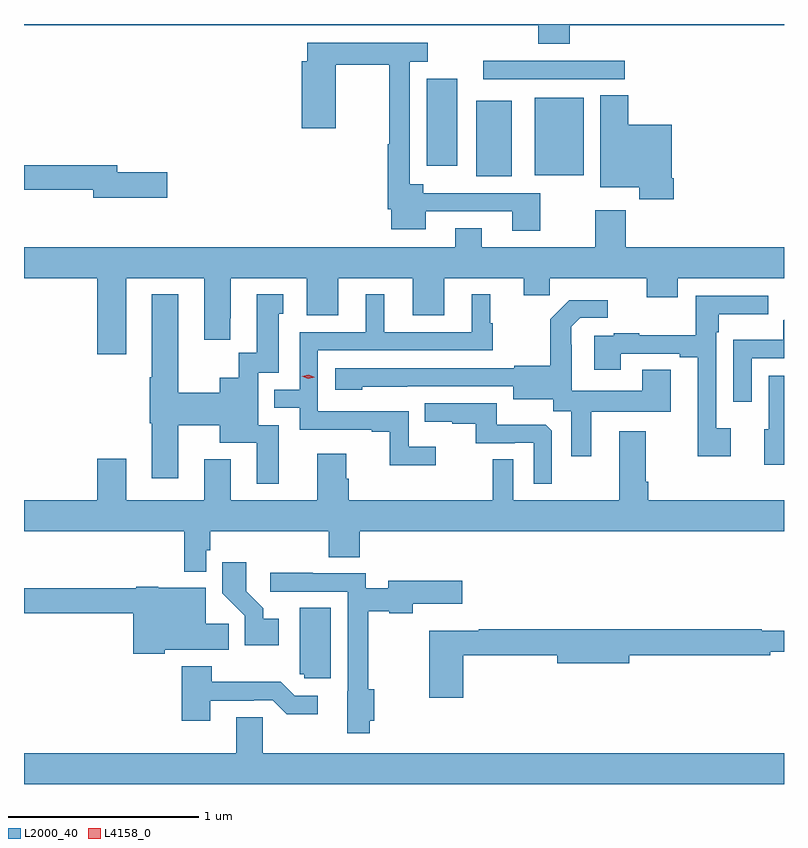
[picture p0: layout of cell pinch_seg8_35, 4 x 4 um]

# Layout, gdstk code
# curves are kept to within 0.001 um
import gdstk
lib = gdstk.Library(unit=1e-6, precision=1e-09)
def R(c, l, rs):  # rectangles x0, y0, x1, y1
    for r in rs: c.add(gdstk.rectangle(r[:2], r[2:], *l))
def P(c, l, *ps):  # polygons
    for p in ps: c.add(gdstk.Polygon(p, *l))
L2000_40 = (2000, 40)
L4158_0 = (4158, 0)

pinch_seg8_35 = lib.new_cell('pinch_seg8_35')
R(pinch_seg8_35, L2000_40, [(978.548,1156.997,978.736,1157.395), (978.857,1157.003,979.114,1157.41), (978.287,1157.052,978.448,1157.509), (978.585,1157.508,979.33,1157.604)])
P(pinch_seg8_35, L2000_40, [(979.04,1157.792),(980.168,1157.792),(980.168,1157.798),(976.168,1157.798),(976.168,1157.792),(978.875,1157.792),(978.875,1157.693),(979.04,1157.693)],
  [(978.885,1156.908),(978.268,1156.908),(978.268,1156.954),(978.198,1156.954),(978.198,1157.6),(978.292,1157.6),(978.292,1157.7),(977.66,1157.7),(977.66,1157.602),(977.63,1157.602),(977.63,1157.25),(977.808,1157.25),(977.808,1157.584),(978.09,1157.584),(978.09,1157.165),(978.082,1157.165),(978.082,1156.822),(978.101,1156.822),(978.101,1156.718),(978.283,1156.718),(978.283,1156.812),(978.737,1156.812),(978.737,1156.71),(978.885,1156.71)],
  [(979.589,1156.987),(979.576,1156.987),(979.576,1157.269),(979.349,1157.269),(979.349,1157.423),(979.202,1157.423),(979.202,1156.94),(979.406,1156.94),(979.406,1156.875),(979.589,1156.875)],
  [(976.921,1157.018),(976.66,1157.018),(976.66,1157.054),(976.168,1157.054),(976.168,1156.926),(976.532,1156.926),(976.532,1156.883),(976.921,1156.883)],
  [(976.705,1156.46),(977.117,1156.46),(977.117,1156.137),(977.254,1156.137),(977.254,1156.249),(977.257,1156.249),(977.257,1156.46),(977.657,1156.46),(977.657,1156.266),(977.821,1156.266),(977.821,1156.46),(978.215,1156.46),(978.215,1156.266),(978.379,1156.266),(978.379,1156.46),(978.797,1156.46),(978.797,1156.37),(978.935,1156.37),(978.935,1156.46),(979.445,1156.46),(979.445,1156.361),(979.609,1156.361),(979.609,1156.46),(980.168,1156.46),(980.168,1156.624),(979.334,1156.624),(979.334,1156.819),(979.174,1156.819),(979.174,1156.624),(978.577,1156.624),(978.577,1156.723),(978.437,1156.723),(978.437,1156.624),(976.168,1156.624),(976.168,1156.46),(976.553,1156.46),(976.553,1156.059),(976.705,1156.059)],
  [(977.509,1155.687),(977.4,1155.687),(977.4,1155.963),(977.509,1155.963),(977.509,1156.272),(977.533,1156.272),(977.533,1156.375),(977.393,1156.375),(977.393,1156.068),(977.297,1156.068),(977.297,1155.937),(977.198,1155.937),(977.198,1155.857),(976.981,1155.857),(976.981,1156.375),(976.841,1156.375),(976.841,1155.94),(976.829,1155.94),(976.829,1155.696),(976.841,1155.696),(976.841,1155.408),(976.981,1155.408),(976.981,1155.685),(977.198,1155.685),(977.198,1155.593),(977.393,1155.593),(977.393,1155.378),(977.509,1155.378)],
  [(978.334,1155.574),(978.192,1155.574),(978.192,1155.759),(977.715,1155.759),(977.715,1156.08),(978.634,1156.08),(978.634,1156.224),(978.622,1156.224),(978.622,1156.375),(978.524,1156.375),(978.524,1156.176),(978.064,1156.176),(978.064,1156.375),(977.966,1156.375),(977.966,1156.176),(977.619,1156.176),(977.619,1155.873),(977.486,1155.873),(977.486,1155.777),(977.619,1155.777),(977.619,1155.663),(977.999,1155.663),(977.999,1155.651),(978.094,1155.651),(978.094,1155.476),(978.334,1155.476)],
  [(979.888,1155.67),(979.812,1155.67),(979.812,1156.175),(979.825,1156.175),(979.825,1156.271),(980.086,1156.271),(980.086,1156.368),(979.704,1156.368),(979.704,1156.16),(979.405,1156.16),(979.405,1156.171),(979.273,1156.171),(979.273,1156.158),(979.169,1156.158),(979.169,1155.978),(979.309,1155.978),(979.309,1156.062),(979.619,1156.062),(979.619,1156.044),(979.715,1156.044),(979.715,1155.522),(979.888,1155.522)],
  [(979.153,1155.758),(979.573,1155.758),(979.573,1155.977),(979.421,1155.977),(979.421,1155.868),(979.05,1155.868),(979.05,1156.109),(979.048,1156.109),(979.048,1156.204),(979.095,1156.251),(979.24,1156.251),(979.24,1156.345),(979.039,1156.345),(978.939,1156.245),(978.939,1156),(978.747,1156),(978.747,1155.987),(977.805,1155.987),(977.805,1155.872),(977.949,1155.872),(977.949,1155.89),(978.743,1155.891),(978.743,1155.824),(978.954,1155.824),(978.954,1155.76),(979.049,1155.76),(979.049,1155.522),(979.153,1155.522)],
  [(979.998,1156.038),(980.168,1156.038),(980.168,1156.242),(980.164,1156.238),(980.164,1156.135),(979.902,1156.135),(979.902,1155.81),(979.998,1155.81)],
  [(980.168,1155.948),(980.088,1155.948),(980.088,1155.666),(980.063,1155.666),(980.063,1155.479),(980.168,1155.479)],
  [(978.945,1155.657),(978.913,1155.689),(978.655,1155.689),(978.655,1155.801),(978.277,1155.801),(978.277,1155.704),(978.421,1155.704),(978.421,1155.693),(978.545,1155.693),(978.545,1155.591),(978.752,1155.591),(978.752,1155.594),(978.852,1155.594),(978.852,1155.377),(978.945,1155.377)],
  [(977.127,1155.027),(977.147,1155.027),(977.147,1155.128),(977.771,1155.128),(977.771,1154.992),(977.936,1154.992),(977.936,1155.128),(980.168,1155.128),(980.168,1155.292),(979.454,1155.292),(979.454,1155.388),(979.441,1155.388),(979.441,1155.655),(979.301,1155.655),(979.301,1155.292),(978.744,1155.292),(978.744,1155.506),(978.636,1155.506),(978.636,1155.292),(977.876,1155.292),(977.876,1155.405),(977.863,1155.405),(977.863,1155.535),(977.711,1155.535),(977.711,1155.292),(977.257,1155.292),(977.257,1155.508),(977.117,1155.508),(977.117,1155.292),(976.705,1155.292),(976.705,1155.511),(976.553,1155.511),(976.553,1155.292),(976.168,1155.292),(976.168,1155.128),(977.011,1155.128),(977.011,1154.915),(977.127,1154.915)],
  [(977.509,1154.668),(977.428,1154.668),(977.428,1154.723),(977.338,1154.813),(977.338,1154.965),(977.212,1154.965),(977.212,1154.802),(977.331,1154.683),(977.331,1154.528),(977.509,1154.528)],
  [(977.987,1154.132),(978.012,1154.132),(978.012,1154.298),(977.98,1154.298),(977.98,1154.706),(978.09,1154.706),(978.09,1154.698),(978.214,1154.698),(978.214,1154.747),(978.475,1154.747),(978.475,1154.869),(978.086,1154.869),(978.086,1154.827),(977.967,1154.827),(977.967,1154.907),(977.687,1154.907),(977.687,1154.91),(977.463,1154.91),(977.463,1154.811),(977.871,1154.811),(977.871,1154.286),(977.87,1154.286),(977.87,1154.064),(977.987,1154.064)],
  [(976.908,1154.504),(977.246,1154.504),(977.246,1154.642),(977.125,1154.642),(977.125,1154.83),(976.875,1154.83),(976.875,1154.835),(976.758,1154.835),(976.758,1154.827),(976.168,1154.827),(976.168,1154.698),(976.742,1154.698),(976.742,1154.483),(976.908,1154.483)],
  [(977.782,1154.725),(977.618,1154.725),(977.618,1154.376),(977.643,1154.376),(977.643,1154.355),(977.782,1154.355)],
  [(978.479,1154.476),(978.974,1154.476),(978.974,1154.434),(979.354,1154.434),(979.354,1154.476),(980.096,1154.476),(980.096,1154.495),(980.168,1154.495),(980.168,1154.605),(980.05,1154.605),(980.05,1154.612),(978.562,1154.612),(978.562,1154.605),(978.301,1154.605),(978.301,1154.253),(978.479,1154.253)],
  [(977.149,1154.235),(977.378,1154.235),(977.378,1154.238),(977.478,1154.238),(977.551,1154.165),(977.713,1154.165),(977.713,1154.262),(977.592,1154.262),(977.519,1154.335),(977.157,1154.335),(977.157,1154.419),(976.997,1154.419),(976.997,1154.13),(977.149,1154.13)],
  [(980.168,1153.96),(977.424,1153.96),(977.424,1154.15),(977.285,1154.15),(977.285,1153.96),(976.168,1153.96),(976.168,1153.798),(980.168,1153.798)])
P(pinch_seg8_35, L4158_0, [(977.664,1155.931),(977.63,1155.944),(977.63,1155.944),(977.63,1155.944),(977.666,1155.951),(977.699,1155.939),(977.699,1155.939),(977.699,1155.938)])

lib.write_gds('pinch_seg8_35.gds')
